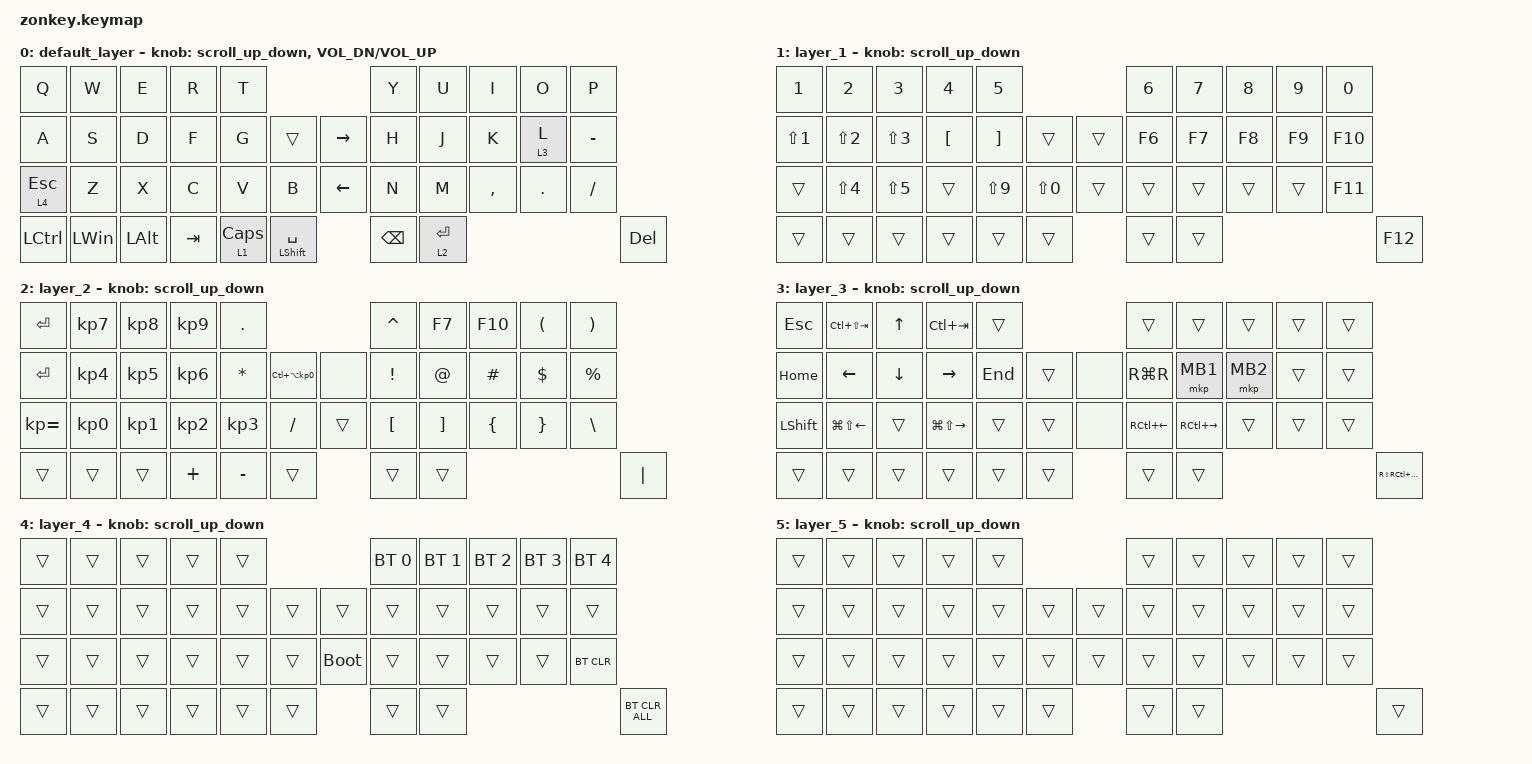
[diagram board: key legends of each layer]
#include <behaviors.dtsi>
#include <dt-bindings/zmk/bt.h>
#include <dt-bindings/zmk/keys.h>
#include <dt-bindings/zmk/pointing.h>

#define ZMK_POINTING_DEFAULT_SCRL_VAL 100
#define MOUSE 6

&mt {
    flavor = "balanced";
    quick-tap-ms = <0>;
};

/ {
    combos { compatible = "zmk,combos"; };

    macros {
        to_layer_0: to_layer_0 {
            compatible = "zmk,behavior-macro-one-param";
            #binding-cells = <1>;
            bindings = <&to 0 &macro_param_1to1 &kp MACRO_PLACEHOLDER>;
            label = "TO_LAYER_0";
        };
    };

    behaviors {
        lt_to_layer_0: lt_to_layer_0 {
            compatible = "zmk,behavior-hold-tap";
            label = "LAYER_TAP_TO_0";
            bindings = <&mo>, <&to_layer_0>;

            #binding-cells = <2>;
            tapping-term-ms = <200>;
        };

        scroll_up_down: behavior_sensor_rotate_mouse_wheel_up_down {
            compatible = "zmk,behavior-sensor-rotate";
            #sensor-binding-cells = <0>;
            bindings = <&msc SCRL_UP>, <&msc SCRL_DOWN>;

            tap-ms = <20>;
        };
    };

    keymap {
        compatible = "zmk,keymap";

        default_layer {
            bindings = <
&kp Q         &kp W         &kp E         &kp R    &kp T                                          &kp Y          &kp U        &kp I      &kp O    &kp P
&kp A         &kp S         &kp D         &kp F    &kp G       &trans                  &kp RIGHT  &kp H          &kp J        &kp K      &lt 3 L  &kp MINUS
&lt 4 ESCAPE  &kp Z         &kp X         &kp C    &kp V       &kp B                   &kp LEFT   &kp N          &kp M        &kp COMMA  &kp DOT  &kp SLASH
&kp LCTRL     &kp LEFT_WIN  &kp LEFT_ALT  &kp TAB  &lt 1 CAPS  &mt LEFT_SHIFT SPACE               &kp BACKSPACE  &lt 2 ENTER                                 &kp DEL
            >;

            sensor-bindings =
                <&scroll_up_down>,
                <&inc_dec_kp C_VOL_DN C_VOL_UP>;
        };

        layer_1 {
            bindings = <
&kp NUMBER_1      &kp NUMBER_2      &kp NUMBER_3      &kp NUMBER_4      &kp N5                                         &kp NUMBER_6  &kp N7  &kp NUMBER_8  &kp NUMBER_9  &kp NUMBER_0
&kp LS(NUMBER_1)  &kp LS(NUMBER_2)  &kp LS(NUMBER_3)  &kp LEFT_BRACKET  &kp RIGHT_BRACKET  &trans              &trans  &kp F6        &kp F7  &kp F8        &kp F9        &kp F10
&trans            &kp LS(NUMBER_4)  &kp LS(N5)        &trans            &kp LS(NUMBER_9)   &kp LS(NUMBER_0)    &trans  &trans        &trans  &trans        &trans        &kp F11
&trans            &trans            &trans            &trans            &trans             &trans                      &trans        &trans                                            &kp F12
            >;

            sensor-bindings = <&scroll_up_down>;
        };

        layer_2 {
            bindings = <
&kp ENTER     &kp KP_NUMBER_7  &kp KP_NUMBER_8  &kp KP_NUMBER_9  &kp PERIOD                                          &kp CARET         &kp F7             &kp F10         &kp LEFT_PARENTHESIS  &kp RIGHT_PARENTHESIS
&kp ENTER     &kp KP_NUMBER_4  &kp KP_NUMBER_5  &kp KP_NUMBER_6  &kp ASTERISK     &kp LC(LA(KP_NUMBER_0))    &none   &kp EXCLAMATION   &kp AT_SIGN        &kp HASH        &kp DOLLAR            &kp PERCENT
&kp KP_EQUAL  &kp KP_NUMBER_0  &kp KP_NUMBER_1  &kp KP_NUMBER_2  &kp KP_NUMBER_3  &kp SLASH                  &trans  &kp LEFT_BRACKET  &kp RIGHT_BRACKET  &kp LEFT_BRACE  &kp RIGHT_BRACE       &kp BACKSLASH
&trans        &trans           &trans           &kp PLUS         &kp MINUS        &trans                             &trans            &trans                                                                          &kp PIPE
            >;

            sensor-bindings = <&scroll_up_down>;
        };

        layer_3 {
            bindings = <
&kp ESCAPE      &kp LC(LS(TAB))         &kp UP_ARROW    &kp LC(TAB)              &trans                    &trans              &trans               &trans    &trans  &trans
&kp HOME        &kp LEFT_ARROW          &kp DOWN_ARROW  &kp RIGHT_ARROW          &kp END  &trans    &none  &kp RG(R)           &mkp MB1             &mkp MB2  &trans  &trans
&kp LEFT_SHIFT  &kp LG(LS(LEFT_ARROW))  &trans          &kp LG(LS(RIGHT_ARROW))  &trans   &trans    &none  &kp RC(LEFT_ARROW)  &kp RC(RIGHT_ARROW)  &trans    &trans  &trans
&trans          &trans                  &trans          &trans                   &trans   &trans           &trans              &trans                                         &kp RS(RC(RG(NUMBER_4)))
            >;

            sensor-bindings = <&scroll_up_down>;
        };

        layer_4 {
            bindings = <
&trans  &trans  &trans  &trans  &trans                         &bt BT_SEL 0  &bt BT_SEL 1  &bt BT_SEL 2  &bt BT_SEL 3  &bt BT_SEL 4
&trans  &trans  &trans  &trans  &trans  &trans    &trans       &trans        &trans        &trans        &trans        &trans
&trans  &trans  &trans  &trans  &trans  &trans    &bootloader  &trans        &trans        &trans        &trans        &bt BT_CLR
&trans  &trans  &trans  &trans  &trans  &trans                 &trans        &trans                                                  &bt BT_CLR_ALL
            >;

            sensor-bindings = <&scroll_up_down>;
        };

        layer_5 {
            bindings = <
&trans  &trans  &trans  &trans  &trans                    &trans  &trans  &trans  &trans  &trans
&trans  &trans  &trans  &trans  &trans  &trans    &trans  &trans  &trans  &trans  &trans  &trans
&trans  &trans  &trans  &trans  &trans  &trans    &trans  &trans  &trans  &trans  &trans  &trans
&trans  &trans  &trans  &trans  &trans  &trans            &trans  &trans                          &trans
            >;

            sensor-bindings = <&scroll_up_down>;
        };
    };
};
